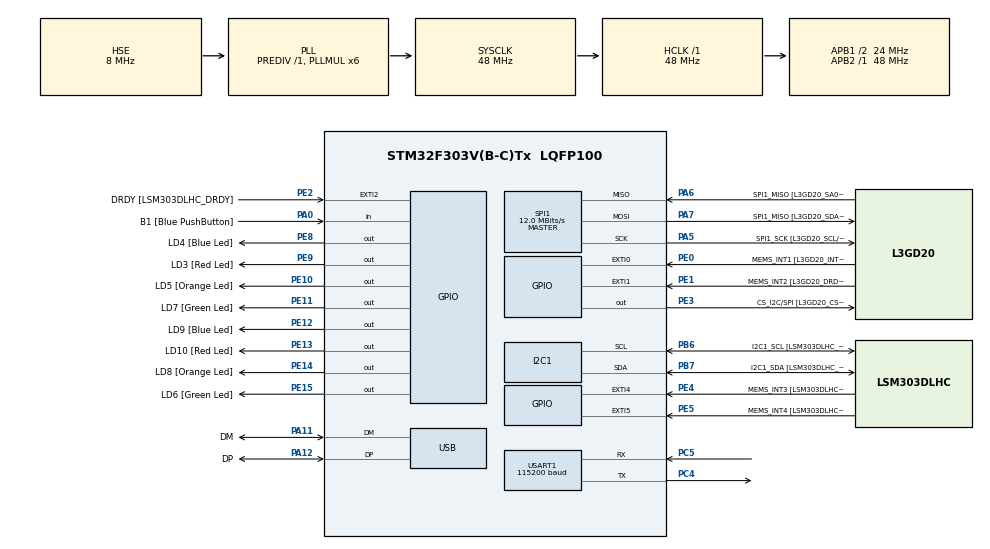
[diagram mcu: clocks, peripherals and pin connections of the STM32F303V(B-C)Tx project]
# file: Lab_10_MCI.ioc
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I2C1.Timing=0x2000090E
I2C1.Timing-I2C=0x2000090E
Mcu.Family=STM32F3
Mcu.Name=STM32F303V(B-C)Tx
Mcu.Package=LQFP100
NVIC.PriorityGroup=NVIC_PRIORITYGROUP_0
PA0.GPIO_Label=B1 [Blue PushButton]
PA0.Signal=GPIO_Input
PA11.GPIO_Label=DM
PA11.Mode=Device
PA11.Signal=USB_DM
PA12.GPIO_Label=DP
PA12.Mode=Device
PA12.Signal=USB_DP
PA13.GPIO_Label=SWDIO
PA13.Mode=Serial_Wire
PA13.Signal=SYS_JTMS-SWDIO
PA14.GPIO_Label=SWCLK
PA14.Mode=Serial_Wire
PA14.Signal=SYS_JTCK-SWCLK
PA5.GPIO_Label=SPI1_SCK [L3GD20_SCL/SPC]
PA5.Mode=Full_Duplex_Master
PA5.Signal=SPI1_SCK
PA6.GPIO_Label=SPI1_MISO [L3GD20_SA0/SDO]
PA6.Mode=Full_Duplex_Master
PA6.Signal=SPI1_MISO
PA7.GPIO_Label=SPI1_MISO [L3GD20_SDA/SDI/SDO]
PA7.Mode=Full_Duplex_Master
PA7.Signal=SPI1_MOSI
PB3.GPIO_Label=SWO
PB3.Signal=SYS_JTDO-TRACESWO
PB6.GPIO_Label=I2C1_SCL [LSM303DLHC_SCL]
PB6.GPIO_Pu=GPIO_PULLUP
PB6.Mode=I2C
PB6.Signal=I2C1_SCL
PB7.GPIO_Label=I2C1_SDA [LSM303DLHC_SDA]
PB7.GPIO_Pu=GPIO_PULLUP
PB7.Mode=I2C
PB7.Signal=I2C1_SDA
PC14-OSC32_IN.GPIO_Label=OSC32_IN
PC14-OSC32_IN.Signal=RCC_OSC32_IN
PC15-OSC32_OUT.GPIO_Label=OSC32_OUT
PC15-OSC32_OUT.Signal=RCC_OSC32_OUT
PC4.Mode=Asynchronous
PC4.Signal=USART1_TX
PC5.Mode=Asynchronous
PC5.Signal=USART1_RX
PE0.GPIO_Label=MEMS_INT1 [L3GD20_INT1]
PE0.GPIO_ModeDefaultEXTI=GPIO_MODE_EVT_RISING
PE0.Signal=GPXTI0
PE1.GPIO_Label=MEMS_INT2 [L3GD20_DRDY/INT2]
PE1.GPIO_ModeDefaultEXTI=GPIO_MODE_EVT_RISING
PE1.Signal=GPXTI1
PE10.GPIO_Label=LD5 [Orange Led]
PE10.Signal=GPIO_Output
PE11.GPIO_Label=LD7 [Green Led]
PE11.Signal=GPIO_Output
PE12.GPIO_Label=LD9 [Blue Led]
PE12.Signal=GPIO_Output
PE13.GPIO_Label=LD10 [Red Led]
PE13.Signal=GPIO_Output
PE14.GPIO_Label=LD8 [Orange Led]
PE14.Signal=GPIO_Output
PE15.GPIO_Label=LD6 [Green Led]
PE15.Signal=GPIO_Output
PE2.GPIO_Label=DRDY [LSM303DLHC_DRDY]
PE2.GPIO_ModeDefaultEXTI=GPIO_MODE_EVT_RISING
PE2.Signal=GPXTI2
PE3.GPIO_Label=CS_I2C/SPI [L3GD20_CS_I2C/SPI]
PE3.Signal=GPIO_Output
PE4.GPIO_Label=MEMS_INT3 [LSM303DLHC_INT1]
PE4.GPIO_ModeDefaultEXTI=GPIO_MODE_EVT_RISING
PE4.Signal=GPXTI4
PE5.GPIO_Label=MEMS_INT4 [LSM303DLHC_INT2]
PE5.GPIO_ModeDefaultEXTI=GPIO_MODE_EVT_RISING
PE5.Signal=GPXTI5
PE8.GPIO_Label=LD4 [Blue Led]
PE8.Signal=GPIO_Output
PE9.GPIO_Label=LD3 [Red Led]
PE9.Signal=GPIO_Output
PF0-OSC_IN.GPIO_Label=OSC_IN
PF0-OSC_IN.Mode=HSE-External-Clock-Source
PF0-OSC_IN.Signal=RCC_OSC_IN
PF1-OSC_OUT.GPIO_Label=OSC_OUT
PF1-OSC_OUT.Signal=RCC_OSC_OUT
ProjectManager.HeapSize=0x200
ProjectManager.StackSize=0x400
ProjectManager.TargetToolchain=CMake
RCC.AHBFreq_Value=48000000
RCC.APB1CLKDivider=RCC_HCLK_DIV2
RCC.APB1Freq_Value=24000000
RCC.APB1TimFreq_Value=48000000
RCC.APB2Freq_Value=48000000
RCC.APB2TimFreq_Value=48000000
RCC.CortexFreq_Value=48000000
RCC.HCLKFreq_Value=48000000
RCC.HSE_VALUE=8000000
RCC.HSI_VALUE=8000000
RCC.LSE_VALUE=32768
RCC.PLLMUL=RCC_PLL_MUL6
RCC.SYSCLKFreq_VALUE=48000000
RCC.SYSCLKSourceVirtual=RCC_SYSCLKSOURCE_PLLCLK
RCC.USBFreq_Value=48000000
SPI1.BaudRatePrescaler=SPI_BAUDRATEPRESCALER_4
SPI1.BaudRatePrescaler-Full_Duplex_Master=SPI_BAUDRATEPRESCALER_2
SPI1.CalculateBaudRate=12.0 MBits/s
SPI1.CalculateBaudRate-Full_Duplex_Master=24.0 MBits/s
SPI1.Direction=SPI_DIRECTION_2LINES
SPI1.Mode=SPI_MODE_MASTER
SPI1.Mode-Full_Duplex_Master=SPI_MODE_MASTER
SPI1.VirtualType=VM_MASTER
USART1.BaudRate=115200
USART1.VirtualMode-Asynchronous=VM_ASYNC
board=STM32F3DISCOVERY

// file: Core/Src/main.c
/* USER CODE BEGIN Header */
/**
  ******************************************************************************
  * @file           : main.c
  * @brief          : Main program body
  ******************************************************************************
  * @attention
  *
  * Copyright (c) 2025 STMicroelectronics.
  * All rights reserved.
  *
  * This software is licensed under terms that can be found in the LICENSE file
  * in the root directory of this software component.
  * If no LICENSE file comes with this software, it is provided AS-IS.
  *
  ******************************************************************************
  */
/* USER CODE END Header */
#include "main.h"
/* USER CODE BEGIN Includes */
#include <stdlib.h>
#include <stdio.h>
#include <string.h>
#include <stdint.h>
#include "heap_driver.h"
/* USER CODE END Includes */

I2C_HandleTypeDef hi2c1;

SPI_HandleTypeDef hspi1;

UART_HandleTypeDef huart1;

PCD_HandleTypeDef hpcd_USB_FS;

/* USER CODE BEGIN PV */
/* small helpers for Lab10 Task1 using huart1 -- safer versions */
static void uart_print(const char *s)
{
  if (s == NULL) return;
  size_t len = strlen(s);

  /* avoid overflow when casting to uint16_t (HAL uses uint16_t size param) */
  if (len > 0xFFFFU) len = 0xFFFFU;

  /* use a finite timeout to avoid blocking forever (increase as needed) */
  uint32_t timeout = 1000; /* ms */
  HAL_StatusTypeDef st = HAL_UART_Transmit(&huart1, (uint8_t*)s, (uint16_t)len, timeout);
  (void)st; /* optionally check and handle error */
}

static void print_int_array(const char* name, int *arr, size_t n)
{
  if (name == NULL || (n > 0 && arr == NULL)) return;

  char buf[256];
  int rem = (int)sizeof(buf);
  int written = snprintf(buf, (size_t)rem, "%s: [", name);
  if (written < 0) return;
  if (written >= rem) written = rem - 1;
  rem -= written;
  int pos = written;

  for (size_t i = 0; i < n && rem > 16; ++i) {
    int w = snprintf(buf + pos, (size_t)rem, "%d%s", arr[i], (i + 1 == n) ? "" : ", ");
    if (w < 0) break;
    if (w >= rem) { /* truncated */
      pos += rem - 1;
      rem = 1;
      break;
    }
    pos += w;
    rem -= w;
  }

  if (rem > 3) {
    int w = snprintf(buf + pos, (size_t)rem, "]\r\n");
    if (w > 0) { pos += (w < rem) ? w : rem - 1; }
  } else {
    /* ensure buffer ends with newline if possible */
    if (pos < (int)sizeof(buf) - 2) {
      buf[pos++] = '\r';
      buf[pos++] = '\n';
      buf[pos] = '\0';
    } else {
      buf[sizeof(buf)-1] = '\0';
    }
  }

  uart_print(buf);
}
/* USER CODE END PV */

void SystemClock_Config(void);
static void MX_GPIO_Init(void);
static void MX_I2C1_Init(void);
static void MX_SPI1_Init(void);
static void MX_USART1_UART_Init(void);
static void MX_USB_PCD_Init(void);

int main(void)
{

  /* MCU Configuration--------------------------------------------------------*/

  /* Reset of all peripherals, Initializes the Flash interface and the Systick. */
  HAL_Init();

  /* Configure the system clock */
  SystemClock_Config();

  /* Initialize all configured peripherals */
  MX_GPIO_Init();
  MX_I2C1_Init();
  MX_SPI1_Init();
  MX_USART1_UART_Init();
  MX_USB_PCD_Init();

  //TASK2
uart_print("=== Custom Heap Driver (Direct SRAM) ===\r\n");

heap_init();

char *block1 = heap_alloc(20);   // first allocation
char *block2 = heap_alloc(40);   // second allocation

if (block1) strcpy(block1, "Data in Block 1");
if (block2) strcpy(block2, "Text from Block 2");

uart_print(block1);
uart_print("\r\n");
uart_print(block2);
uart_print("\r\n");

heap_free(block1);
heap_free(block2);

uart_print("Blocks freed.\r\n");
  /* USER CODE BEGIN 2 */
  // uart_print("Lab10 Task1: dynamic memory demo\r\n");

  // const size_t n = 10; // number of elements for the exercise (change if lab requires different)

  // /* 1) allocate with malloc() - no cast in C, use sizeof *A for safety */
  // int *A = malloc(n * sizeof *A);
  // if (A == NULL) {
  //   uart_print("malloc failed\r\n");
  //   while (1) { HAL_Delay(1000); }
  // }

  // /* initialize A: A[i] = i * 2 */
  // for (size_t i = 0; i < n; ++i) A[i] = (int)(i * 2);

  // /* 2) allocate with calloc() */
  // int *B = calloc(n, sizeof *B);
  // if (B == NULL) {
  //   uart_print("calloc failed\r\n");
  //   free(A);
  //   A = NULL;
  //   while (1) { HAL_Delay(1000); }
  // }

  // /* print initial arrays */
  // print_int_array("A (after init)", A, n);
  // print_int_array("B (after calloc, before assign)", B, n);

  // /* assign B[i] = i + 1 */
  // for (size_t i = 0; i < n; ++i) B[i] = (int)(i + 1);

  // print_int_array("B (after assign)", B, n);

  // /* free and nullify */
  // free(A);
  // A = NULL;
  // free(B);
  // B = NULL;

  // uart_print("Memory freed and pointers set to NULL.\r\n");
  // uart_print("Task 1 completed.\r\n");
  /* USER CODE END 2 */

  /* Infinite loop */
  while (1)
  {
    // uart_print("testing\r\n");
    HAL_Delay(1000);
  }
}

void SystemClock_Config(void)
{
  RCC_OscInitTypeDef RCC_OscInitStruct = {0};
  RCC_ClkInitTypeDef RCC_ClkInitStruct = {0};
  RCC_PeriphCLKInitTypeDef PeriphClkInit = {0};

  /** Initializes the RCC Oscillators according to the specified parameters
  * in the RCC_OscInitTypeDef structure.
  */
  RCC_OscInitStruct.OscillatorType = RCC_OSCILLATORTYPE_HSI|RCC_OSCILLATORTYPE_HSE;
  RCC_OscInitStruct.HSEState = RCC_HSE_BYPASS;
  RCC_OscInitStruct.HSEPredivValue = RCC_HSE_PREDIV_DIV1;
  RCC_OscInitStruct.HSIState = RCC_HSI_ON;
  RCC_OscInitStruct.HSICalibrationValue = RCC_HSICALIBRATION_DEFAULT;
  RCC_OscInitStruct.PLL.PLLState = RCC_PLL_ON;
  RCC_OscInitStruct.PLL.PLLSource = RCC_PLLSOURCE_HSE;
  RCC_OscInitStruct.PLL.PLLMUL = RCC_PLL_MUL6;
  if (HAL_RCC_OscConfig(&RCC_OscInitStruct) != HAL_OK)
  {
    Error_Handler();
  }

  /** Initializes the CPU, AHB and APB buses clocks
  */
  RCC_ClkInitStruct.ClockType = RCC_CLOCKTYPE_HCLK|RCC_CLOCKTYPE_SYSCLK
                              |RCC_CLOCKTYPE_PCLK1|RCC_CLOCKTYPE_PCLK2;
  RCC_ClkInitStruct.SYSCLKSource = RCC_SYSCLKSOURCE_PLLCLK;
  RCC_ClkInitStruct.AHBCLKDivider = RCC_SYSCLK_DIV1;
  RCC_ClkInitStruct.APB1CLKDivider = RCC_HCLK_DIV2;
  RCC_ClkInitStruct.APB2CLKDivider = RCC_HCLK_DIV1;

  if (HAL_RCC_ClockConfig(&RCC_ClkInitStruct, FLASH_LATENCY_1) != HAL_OK)
  {
    Error_Handler();
  }
  PeriphClkInit.PeriphClockSelection = RCC_PERIPHCLK_USB|RCC_PERIPHCLK_USART1
                              |RCC_PERIPHCLK_I2C1;
  PeriphClkInit.Usart1ClockSelection = RCC_USART1CLKSOURCE_PCLK2;
  PeriphClkInit.I2c1ClockSelection = RCC_I2C1CLKSOURCE_HSI;
  PeriphClkInit.USBClockSelection = RCC_USBCLKSOURCE_PLL;
  if (HAL_RCCEx_PeriphCLKConfig(&PeriphClkInit) != HAL_OK)
  {
    Error_Handler();
  }
}

static void MX_I2C1_Init(void)
{
  hi2c1.Instance = I2C1;
  hi2c1.Init.Timing = 0x2000090E;
  hi2c1.Init.OwnAddress1 = 0;
  hi2c1.Init.AddressingMode = I2C_ADDRESSINGMODE_7BIT;
  hi2c1.Init.DualAddressMode = I2C_DUALADDRESS_DISABLE;
  hi2c1.Init.OwnAddress2 = 0;
  hi2c1.Init.OwnAddress2Masks = I2C_OA2_NOMASK;
  hi2c1.Init.GeneralCallMode = I2C_GENERALCALL_DISABLE;
  hi2c1.Init.NoStretchMode = I2C_NOSTRETCH_DISABLE;
  if (HAL_I2C_Init(&hi2c1) != HAL_OK)
  {
    Error_Handler();
  }

  if (HAL_I2CEx_ConfigAnalogFilter(&hi2c1, I2C_ANALOGFILTER_ENABLE) != HAL_OK)
  {
    Error_Handler();
  }

  if (HAL_I2CEx_ConfigDigitalFilter(&hi2c1, 0) != HAL_OK)
  {
    Error_Handler();
  }
}

static void MX_SPI1_Init(void)
{
  hspi1.Instance = SPI1;
  hspi1.Init.Mode = SPI_MODE_MASTER;
  hspi1.Init.Direction = SPI_DIRECTION_2LINES;
  /* 8-bit is a common default; change to 4-bit only if your device requires it */
  hspi1.Init.DataSize = SPI_DATASIZE_8BIT;
  hspi1.Init.CLKPolarity = SPI_POLARITY_LOW;
  hspi1.Init.CLKPhase = SPI_PHASE_1EDGE;
  hspi1.Init.NSS = SPI_NSS_SOFT;
  hspi1.Init.BaudRatePrescaler = SPI_BAUDRATEPRESCALER_4;
  hspi1.Init.FirstBit = SPI_FIRSTBIT_MSB;
  hspi1.Init.TIMode = SPI_TIMODE_DISABLE;
  hspi1.Init.CRCCalculation = SPI_CRCCALCULATION_DISABLE;
  hspi1.Init.CRCPolynomial = 7;
  hspi1.Init.CRCLength = SPI_CRC_LENGTH_DATASIZE;
  hspi1.Init.NSSPMode = SPI_NSS_PULSE_ENABLE;
  if (HAL_SPI_Init(&hspi1) != HAL_OK)
  {
    Error_Handler();
  }
}

static void MX_USART1_UART_Init(void)
{
  huart1.Instance = USART1;
  huart1.Init.BaudRate = 115200;
  huart1.Init.WordLength = UART_WORDLENGTH_8B;
  huart1.Init.StopBits = UART_STOPBITS_1;
  huart1.Init.Parity = UART_PARITY_NONE;
  huart1.Init.Mode = UART_MODE_TX_RX;
  huart1.Init.HwFlowCtl = UART_HWCONTROL_NONE;
  huart1.Init.OverSampling = UART_OVERSAMPLING_16;
  huart1.Init.OneBitSampling = UART_ONE_BIT_SAMPLE_DISABLE;
  huart1.AdvancedInit.AdvFeatureInit = UART_ADVFEATURE_NO_INIT;
  if (HAL_UART_Init(&huart1) != HAL_OK)
  {
    Error_Handler();
  }
}

static void MX_USB_PCD_Init(void)
{
  hpcd_USB_FS.Instance = USB;
  hpcd_USB_FS.Init.dev_endpoints = 8;
  hpcd_USB_FS.Init.speed = PCD_SPEED_FULL;
  hpcd_USB_FS.Init.phy_itface = PCD_PHY_EMBEDDED;
  hpcd_USB_FS.Init.low_power_enable = DISABLE;
  hpcd_USB_FS.Init.battery_charging_enable = DISABLE;
  if (HAL_PCD_Init(&hpcd_USB_FS) != HAL_OK)
  {
    Error_Handler();
  }
}

static void MX_GPIO_Init(void)
{
  GPIO_InitTypeDef GPIO_InitStruct = {0};

  /* GPIO Ports Clock Enable */
  __HAL_RCC_GPIOE_CLK_ENABLE();
  __HAL_RCC_GPIOC_CLK_ENABLE();
  __HAL_RCC_GPIOF_CLK_ENABLE();
  __HAL_RCC_GPIOA_CLK_ENABLE();
  __HAL_RCC_GPIOB_CLK_ENABLE();

  /*Configure GPIO pin Output Level */
  HAL_GPIO_WritePin(GPIOE, CS_I2C_SPI_Pin|LD4_Pin|LD3_Pin|LD5_Pin
                          |LD7_Pin|LD9_Pin|LD10_Pin|LD8_Pin
                          |LD6_Pin, GPIO_PIN_RESET);

  /*Configure GPIO pins : DRDY_Pin MEMS_INT3_Pin MEMS_INT4_Pin MEMS_INT1_Pin
                           MEMS_INT2_Pin */
  GPIO_InitStruct.Pin = DRDY_Pin|MEMS_INT3_Pin|MEMS_INT4_Pin|MEMS_INT1_Pin
                          |MEMS_INT2_Pin;
  /* Note: GPIO_MODE_EVT_RISING generates an event. If you intended to use
     HAL_GPIO_EXTI_Callback(), switch to GPIO_MODE_IT_RISING and enable the EXTI IRQ. */
  GPIO_InitStruct.Mode = GPIO_MODE_EVT_RISING;
  GPIO_InitStruct.Pull = GPIO_NOPULL;
  HAL_GPIO_Init(GPIOE, &GPIO_InitStruct);

  /*Configure GPIO pins : CS_I2C_SPI_Pin LD4_Pin LD3_Pin LD5_Pin
                           LD7_Pin LD9_Pin LD10_Pin LD8_Pin
                           LD6_Pin */
  GPIO_InitStruct.Pin = CS_I2C_SPI_Pin|LD4_Pin|LD3_Pin|LD5_Pin
                          |LD7_Pin|LD9_Pin|LD10_Pin|LD8_Pin
                          |LD6_Pin;
  GPIO_InitStruct.Mode = GPIO_MODE_OUTPUT_PP;
  GPIO_InitStruct.Pull = GPIO_NOPULL;
  GPIO_InitStruct.Speed = GPIO_SPEED_FREQ_LOW;
  HAL_GPIO_Init(GPIOE, &GPIO_InitStruct);

  /*Configure GPIO pin : B1_Pin */
  GPIO_InitStruct.Pin = B1_Pin;
  GPIO_InitStruct.Mode = GPIO_MODE_INPUT;
  GPIO_InitStruct.Pull = GPIO_NOPULL;
  HAL_GPIO_Init(B1_GPIO_Port, &GPIO_InitStruct);
}

void Error_Handler(void)
{
  __disable_irq();
  /* Blink an LED or keep printing an error here if desired */
  while (1)
  {
    /* simple blink or delay to indicate fatal error */
    HAL_Delay(500);
  }
}
